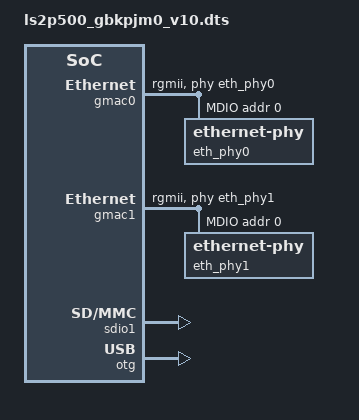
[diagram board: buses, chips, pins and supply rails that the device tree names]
#include "ls2p500_g2p05z0_v10.dtsi"

/ {
	sysinfo-smbios {
		compatible = "u-boot,sysinfo-smbios";
		u-boot,dm-pre-reloc;

		smbios {
			system {
				manufacturer = "Loongson";
				product = "LS2P500";
			};

			baseboard {
				manufacturer = "Loongson";
				product = "LS2P500-GBKPJM0";
			};

			chassis {
				manufacturer = "Loongson";
				product = "LS2P500-GBKPJM0";
			};
		};
	};
};

&gmac0 {
	status = "okay";
	phy-mode = "rgmii";
	phy-handle = <&eth_phy0>;

	mdio0: mdio@0 {
		#address-cells = <1>;
		#size-cells = <0>;
		compatible = "snps,dwmac-mdio";

		eth_phy0: ethernet-phy@0 {
			reg = <0>;
		};
	};
};

&gmac1 {
	status = "okay";
	phy-mode = "rgmii";
	phy-handle = <&eth_phy1>;

	mdio1: mdio@1 {
		#address-cells = <1>;
		#size-cells = <0>;
		compatible = "snps,dwmac-mdio";

		eth_phy1: ethernet-phy@0 {
			reg = <0>;
		};
	};
};

&sdio1 {
	status = "okay";
	use-sdcard;
};

&otg {
	status = "okay";
	// force host mode
	hnp-srp-disable;
};

&pwrc {
	domain-node {
		bit = <0>;
		clock-gate-la364 {
			bit = <0>;
		};
		clock-gate-iodma {
			bit = <1>;
		};
	};
	domain-ddr {
		bit = <2>;
		clock-gate-ddriso {
			bit = <20>;
		};
		clock-gate-ddrrst {
			bit = <21>;
		};
		clock-gate-ddr {
			bit = <22>;
		};
	};
	domain-print {
		bit = <4>;
		always-on;
		clock-gate-prtla132 {
			bit = <2>;
			clock-gate-off;
		};
		clock-gate-prtl1xbar {
			bit = <3>;
		};
	};
	domain-scan {
		bit = <6>;
		clock-gate-scala132 {
			bit = <4>;
			clock-gate-off;
		};
		clock-gate-scadev {
			bit = <5>;
		};
	};
	domain-sys {
		bit = <8>;
		clock-gate-boot {
			bit = <8>;
		};
		clock-gate-gmac1 {
			bit = <9>;
		};
		clock-gate-usb {
			bit = <10>;
		};
		clock-gate-sdio {
			bit = <11>;
		};
		clock-gate-apbdev {
			bit = <12>;
		};
	};
	domain-resume {
		bit = <10>;
		always-on;
		clock-gate-gmac0 {
			bit = <16>;
		};
		clock-gate-otg {
			bit = <17>;
		};
	};
	domain-image {
		bit = <12>;
		dpm-off;
		clock-gate-jbig {
			bit = <18>;
		};
		clock-gate-jpeg {
			bit = <19>;
		};
	};
};
